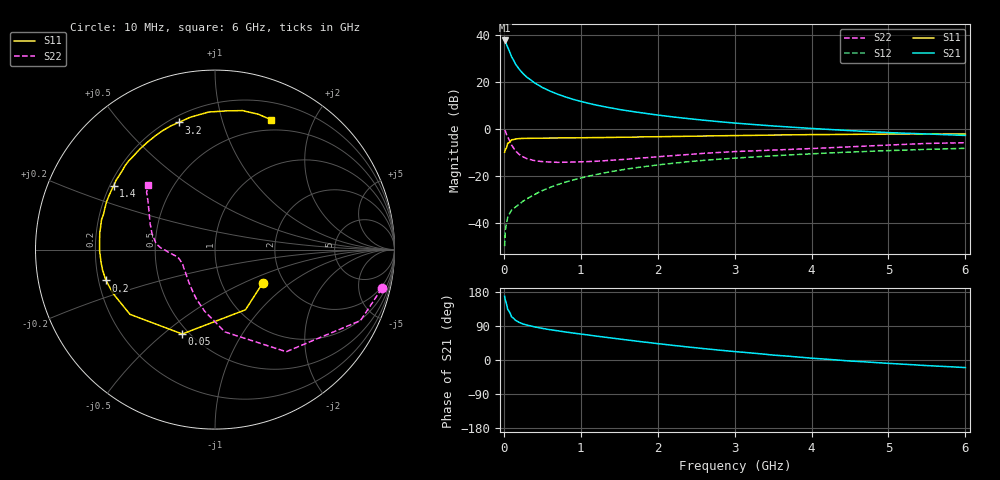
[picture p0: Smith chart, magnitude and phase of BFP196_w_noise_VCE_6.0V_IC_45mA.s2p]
! (c) 2017  Infineon Technologies AG, Munich
! Infineon Technologies  Discrete & RF Semiconductors
! BFP196
! VCE =  6.0 V,  IC =  45 mA
! Common Emitter S-Parameters:  Jan 2017
# GHz  S  MA  R  50
!  f  S11  S21  S12  S22
! GHz  MAG  ANG  MAG  ANG  MAG  ANG  MAG  ANG
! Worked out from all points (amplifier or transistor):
!   77 points, 10 MHz to 6 GHz, reference 50 ohm
!   highest |S21| = 37.6 dB at 10 MHz (marker M1)
!   |S21| within 3 dB of that: start of sweep to 51.54 MHz
!   unconditionally stable (mu >= 1): 581.4 MHz to 2.388 GHz
!   at 130 MHz: K = 0.59, MSG = 31.3 dB, |S12| = -33.6 dB
!   at 2.2 GHz: K = 1.01, MAG = 9.2 dB, |S12| = -14.5 dB
!   at 6 GHz: K = 0.95, MSG = 2.7 dB, |S12| = -8.1 dB
!   lowest NFmin = 1.39 dB at 450 MHz
!   S11 on the Smith chart (normalised r, x): 10 MHz: 1.57, -0.64; 50 MHz: 0.46, -0.58; 200 MHz: 0.23, -0.13; 1.4 GHz: 0.22, +0.28; 3.2 GHz: 0.23, +0.73; 6 GHz: 0.38, +1.46
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0.01  0.3243 -34.6  76.02 168.1  0.0033 82.4  0.9543 -13.1
0.02  0.3759 -63.1  72.91 157.5  0.0071 76.3  0.9018 -26.0
0.05  0.5043 -111.2  54.51 133.6  0.0134 59.4  0.6938 -55.1
0.1  0.5952 -142.7  34.47 114.1  0.0192 54.0  0.462 -83.1
0.15  0.6178 -156.5  24.29 104.9  0.0222 53.3  0.3484 -99.5
0.2  0.6314 -164.2  18.62 99.2  0.0257 56.6  0.2918 -111.2
0.25  0.6366 -169.6  15.06 95.0  0.0297 57.7  0.2579 -119.8
0.3  0.6386 -173.4  12.6 92.1  0.0332 60.2  0.2369 -127.2
0.4  0.643 -179.4  9.556 87.2  0.0411 63.0  0.2151 -137.5
0.5  0.6446 176.0  7.664 83.4  0.0498 64.3  0.205 -145.0
0.6  0.6486 171.9  6.419 80.0  0.0582 65.2  0.2011 -150.6
0.7  0.65 168.5  5.508 77.1  0.0666 65.8  0.1976 -154.9
0.9  0.6518 162.1  4.288 71.2  0.0837 65.0  0.201 -160.6
1.1  0.6603 156.2  3.536 65.9  0.1008 63.7  0.2057 -165.0
1.4  0.6674 147.7  2.805 58.0  0.1263 60.5  0.2191 -170.0
1.7  0.6784 139.6  2.329 50.5  0.1507 56.9  0.2378 -173.5
2.1  0.6946 129.1  1.903 41.0  0.1815 51.7  0.2673 -177.9
3.1  0.7338 107.8  1.309 20.6  0.2486 38.4  0.3394 171.4
3.2  0.7368 106.0  1.272 18.8  0.2543 37.2  0.3443 170.0
4.1  0.7678 91.2  1.014 3.4  0.3053 26.5  0.3944 156.8
5.1  0.7891 77.5  0.834 -10.0  0.3549 14.9  0.4673 143.3
6  0.7881 66.5  0.736 -20.0  0.3926 4.8  0.5161 136.2
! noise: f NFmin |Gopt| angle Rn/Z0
0.45  1.39  0.37  -180  0.06
0.9  1.55  0.46  -166  0.07
1.9  2.36  0.68  -133  0.3
2.4  2.76  0.7  -120  0.65
